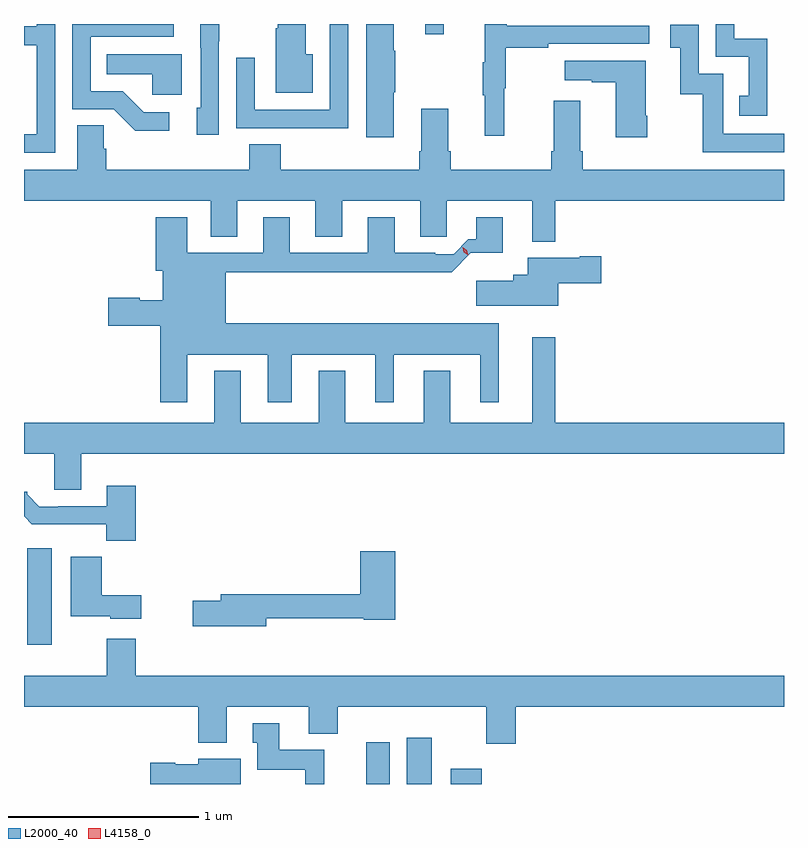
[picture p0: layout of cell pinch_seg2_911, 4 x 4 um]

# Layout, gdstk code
import gdstk
lib = gdstk.Library(unit=1e-6, precision=1e-09)
def R(c, l, rs):  # rectangles x0, y0, x1, y1
    for r in rs: c.add(gdstk.rectangle(r[:2], r[2:], *l))
def P(c, l, *ps):  # polygons
    for p in ps: c.add(gdstk.Polygon(p, *l))
L2000_40 = (2000, 40)
L4158_0 = (4158, 0)

pinch_seg2_911 = lib.new_cell('pinch_seg2_911')
R(pinch_seg2_911, L2000_40, [(507.242,661.882,507.367,662.101), (507.455,661.882,507.586,662.125), (507.686,661.882,507.85,661.963), (505.457,662.616,505.588,663.124), (507.554,665.829,507.651,665.882)])
P(pinch_seg2_911, L2000_40, [(507.968,665.544),(507.976,665.544),(507.976,665.758),(508.199,665.758),(508.199,665.778),(508.732,665.778),(508.732,665.874),(507.983,665.874),(507.983,665.882),(507.866,665.882),(507.866,665.681),(507.855,665.681),(507.855,665.507),(507.866,665.507),(507.866,665.295),(507.968,665.295)],
  [(506.962,665.722),(506.923,665.722),(506.923,665.882),(506.777,665.882),(506.777,665.859),(506.765,665.859),(506.765,665.519),(506.962,665.519)],
  [(509.352,665.805),(509.178,665.805),(509.178,665.882),(509.082,665.882),(509.082,665.709),(509.255,665.709),(509.255,665.505),(509.206,665.505),(509.206,665.4),(509.352,665.4)],
  [(507.147,665.882),(507.051,665.882),(507.051,665.43),(506.655,665.43),(506.655,665.704),(506.559,665.704),(506.559,665.334),(506.875,665.334),(506.875,665.333),(507.147,665.333)],
  [(506.206,665.418),(506.071,665.418),(505.96,665.529),(505.791,665.529),(505.791,665.814),(506.23,665.814),(506.23,665.882),(505.695,665.882),(505.695,665.433),(505.914,665.433),(506.027,665.321),(506.206,665.321)],
  [(506.466,665.791),(506.469,665.791),(506.469,665.882),(506.369,665.882),(506.369,665.758),(506.37,665.758),(506.37,665.442),(506.351,665.442),(506.351,665.298),(506.466,665.298)],
  [(505.605,665.882),(505.509,665.882),(505.509,665.871),(505.441,665.871),(505.441,665.77),(505.509,665.77),(505.509,665.301),(505.441,665.301),(505.441,665.205),(505.605,665.205)],
  [(507.388,665.524),(507.396,665.524),(507.396,665.741),(507.388,665.741),(507.388,665.882),(507.242,665.882),(507.242,665.286),(507.388,665.286)],
  [(509.441,665.304),(509.121,665.304),(509.121,665.619),(508.992,665.619),(508.992,665.878),(508.842,665.878),(508.842,665.757),(508.895,665.757),(508.895,665.511),(509.013,665.511),(509.013,665.208),(509.441,665.208)],
  [(506.272,665.722),(505.876,665.722),(505.876,665.618),(506.115,665.618),(506.115,665.51),(506.272,665.51)],
  [(508.722,665.398),(508.714,665.398),(508.714,665.689),(508.287,665.689),(508.287,665.585),(508.43,665.585),(508.43,665.575),(508.556,665.575),(508.556,665.286),(508.722,665.286)],
  [(508.237,664.952),(509.441,664.952),(509.441,665.116),(508.382,665.116),(508.382,665.212),(508.369,665.212),(508.369,665.479),(508.229,665.479),(508.229,665.212),(508.217,665.212),(508.217,665.116),(507.686,665.116),(507.686,665.212),(507.673,665.212),(507.673,665.437),(507.533,665.437),(507.533,665.212),(507.521,665.212),(507.521,665.116),(506.792,665.116),(506.792,665.249),(506.627,665.249),(506.627,665.116),(505.874,665.116),(505.874,665.225),(505.86,665.225),(505.86,665.348),(505.721,665.348),(505.721,665.116),(505.441,665.116),(505.441,664.952),(506.423,664.952),(506.423,664.762),(506.563,664.762),(506.563,664.952),(506.975,664.952),(506.975,664.762),(507.115,664.762),(507.115,664.952),(507.527,664.952),(507.527,664.762),(507.666,664.762),(507.666,664.952),(508.115,664.952),(508.115,664.736),(508.237,664.736)],
  [(506.299,664.142),(506.723,664.142),(506.723,663.891),(506.851,663.891),(506.851,664.142),(507.29,664.142),(507.29,663.891),(507.388,663.891),(507.388,664.142),(507.842,664.142),(507.842,663.891),(507.94,663.891),(507.94,664.306),(506.503,664.306),(506.503,664.576),(507.691,664.576),(507.792,664.677),(507.961,664.677),(507.961,664.864),(507.821,664.864),(507.821,664.748),(507.779,664.748),(507.702,664.671),(507.605,664.671),(507.605,664.677),(507.391,664.677),(507.391,664.864),(507.251,664.864),(507.251,664.677),(506.839,664.677),(506.839,664.864),(506.699,664.864),(506.699,664.677),(506.299,664.677),(506.299,664.864),(506.135,664.864),(506.135,664.584),(506.171,664.584),(506.171,664.429),(506.051,664.429),(506.051,664.442),(505.884,664.442),(505.884,664.295),(506.159,664.295),(506.159,663.891),(506.299,663.891)],
  [(508.252,664.517),(508.48,664.517),(508.48,664.659),(508.367,664.659),(508.367,664.651),(508.091,664.651),(508.091,664.561),(508.016,664.561),(508.016,664.531),(507.822,664.531),(507.822,664.4),(508.252,664.4)],
  [(509.441,663.784),(508.237,663.784),(508.237,664.234),(508.115,664.234),(508.115,663.784),(507.685,663.784),(507.685,664.057),(507.545,664.057),(507.545,663.784),(507.133,663.784),(507.133,664.057),(506.993,664.057),(506.993,663.784),(506.581,663.784),(506.581,664.057),(506.441,664.057),(506.441,663.784),(505.441,663.784),(505.441,663.62),(505.601,663.62),(505.601,663.43),(505.741,663.43),(505.741,663.62),(509.441,663.62)],
  [(506.03,663.451),(505.877,663.451),(505.877,663.345),(505.621,663.345),(505.621,663.342),(505.522,663.342),(505.458,663.406),(505.458,663.421),(505.441,663.421),(505.441,663.29),(505.483,663.248),(505.875,663.248),(505.875,663.161),(506.03,663.161)],
  [(506.716,662.754),(507.228,662.754),(507.228,662.746),(507.395,662.746),(507.395,663.106),(507.212,663.106),(507.212,662.882),(506.477,662.882),(506.477,662.846),(506.328,662.846),(506.328,662.711),(506.716,662.711)],
  [(506.059,662.875),(505.85,662.875),(505.85,663.079),(505.688,663.079),(505.688,662.765),(505.896,662.765),(505.896,662.753),(506.059,662.753)],
  [(508.028,662.288),(509.441,662.288),(509.441,662.452),(506.03,662.452),(506.03,662.647),(505.877,662.647),(505.877,662.452),(505.441,662.452),(505.441,662.288),(506.357,662.288),(506.357,662.099),(506.509,662.099),(506.509,662.288),(506.939,662.288),(506.939,662.147),(507.092,662.147),(507.092,662.288),(507.875,662.288),(507.875,662.094),(508.028,662.094)],
  [(507.021,662.062),(506.785,662.062),(506.785,662.203),(506.645,662.203),(506.645,662.1),(506.669,662.1),(506.669,661.958),(506.922,661.958),(506.922,661.882),(507.021,661.882)],
  [(506.581,662.014),(506.358,662.014),(506.358,661.987),(506.238,661.987),(506.238,661.995),(506.106,661.995),(506.106,661.882),(506.581,661.882)])
P(pinch_seg2_911, L4158_0, [(507.778,664.664),(507.778,664.664),(507.755,664.68),(507.749,664.707),(507.749,664.707),(507.75,664.707),(507.772,664.691),(507.778,664.665)])

lib.write_gds('pinch_seg2_911.gds')
